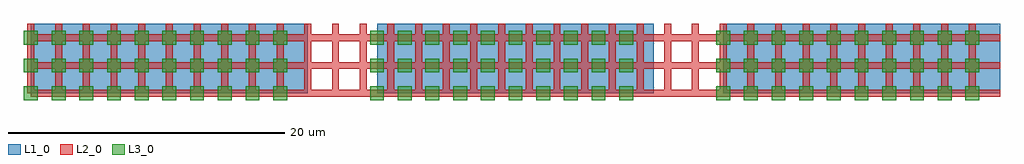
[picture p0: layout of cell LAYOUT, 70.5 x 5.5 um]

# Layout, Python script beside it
import gdspy

# Create a new library
lib = gdspy.GdsLibrary()

# Create a new cell
cell = lib.new_cell('LAYOUT')

# Layer definitions
LAYER_ACTIVE = 1
LAYER_POLY = 2
LAYER_CONTACT = 3

# 1. Draw three rectangular active regions
active_width = 20
active_height = 5
active_spacing = 5

for i in range(3):
    x = i * (active_width + active_spacing)
    active = gdspy.Rectangle((x, 0), (x + active_width, active_height), layer=LAYER_ACTIVE)
    cell.add(active)

# 2. Create complex polysilicon gate pattern
poly_width = 0.5
total_width = 3 * active_width + 2 * active_spacing
total_height = active_height

# Vertical lines
for x in range(0, int(total_width + poly_width), 2):
    poly_vert = gdspy.Path(poly_width, (x, 0))
    poly_vert.segment(total_height, '+y', layer=LAYER_POLY)
    cell.add(poly_vert)

# Horizontal lines
for y in range(0, int(total_height + poly_width), 2):
    poly_horz = gdspy.Path(poly_width, (0, y))
    poly_horz.segment(total_width, '+x', layer=LAYER_POLY)
    cell.add(poly_horz)

# 3. Add contact holes
contact_size = 1

for i in range(3):
    x_start = i * (active_width + active_spacing)
    x_end = x_start + active_width
    for x in range(int(x_start), int(x_end + poly_width), 2):
        for y in range(0, int(active_height + poly_width), 2):
            contact = gdspy.Rectangle(
                (x - contact_size/2, y - contact_size/2),
                (x + contact_size/2, y + contact_size/2),
                layer=LAYER_CONTACT
            )
            cell.add(contact)

# Save the layout to a GDS file
lib.write_gds('layout.gds')

# Optional: View the layout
